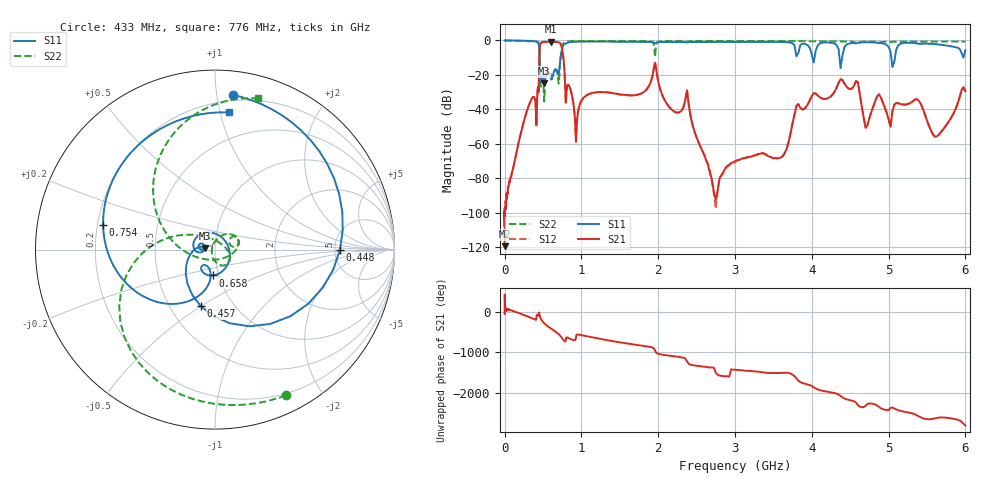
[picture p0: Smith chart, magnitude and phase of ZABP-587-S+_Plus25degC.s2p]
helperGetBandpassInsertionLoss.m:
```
function insertionLoss_dB = helperGetBandpassInsertionLoss(frequencyHz, s2pPath)
%helperGetBandpassInsertionLoss Interpolate insertion loss from the Mini-Circuits S2P file.

arguments
    frequencyHz (1, 1) double {mustBePositive}
    s2pPath (1, 1) string = fullfile("RFBudget", "ZABP-587-S+_Plus25degC.s2p")
end

if ~isfile(s2pPath)
    projectRoot = fileparts(mfilename("fullpath"));
    s2pPath = fullfile(projectRoot, s2pPath);
end

networkData = sparameters(s2pPath);
s21 = squeeze(networkData.Parameters(2, 1, :));
s21Interpolated = interp1(networkData.Frequencies, s21, frequencyHz, "linear", "extrap");
insertionLoss_dB = -20 * log10(abs(s21Interpolated));
end
```
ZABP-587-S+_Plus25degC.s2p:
! Mini-Circuits
! S2P DATA File Format
! Type: BAND PASS FILTER
! Model: ZABP-587-S+
! All S Parameters are in MAG PHASE format
! TEST CONDITIONS: INPUT POWER = 0 dBm @ Temperature = +25deg C
# MHz S DB R 50
!FREQ  MAG(S11)PHS(S11) MAG(S21)PHS(S21)MAG(S12)PHS(S12)MAG(S22)PHS(S22)
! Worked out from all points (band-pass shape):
!   1001 points, 500 kHz to 6 GHz, reference 50 ohm
!   highest |S21| = -0.73 dB at 606 MHz (marker M1); lowest = -119.3 dB at 4 MHz (marker M2)
!   |S21| within 3 dB of the highest: 458.8 MHz to 743.9 MHz (285.1 MHz wide, 47.4 % of centre)
!   lowest |S11| = -24.8 dB at 514 MHz (marker M3), VSWR 1.12, Z = 44.6 + j0.766 ohm
!   |S11| at or under -10 dB: 457.2 MHz to 728.7 MHz (271.5 MHz wide, 45.8 % of centre); 4.01 GHz to 4.035 GHz (25.53 MHz wide, 0.635 % of centre); 5.035 GHz to 5.083 GHz (47.92 MHz wide, 0.947 % of centre)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
!   |S22| runs from -35.4 to 0.0 dB; largest |S21 - S12| = 0.00048
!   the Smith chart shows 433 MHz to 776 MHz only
!   S11 on the Smith chart (normalised r, x): 433 MHz: 0.16, +1.11; 448 MHz: 5.58, -0.01; 457 MHz: 0.71, -0.50; 658 MHz: 0.94, -0.28; 754 MHz: 0.22, +0.10; 776 MHz: 0.28, +1.06
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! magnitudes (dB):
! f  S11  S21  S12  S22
! 500 kHz  0.0  -103.5  -99.9  0.0
! 4 MHz  0.0  -119.3  -105.0  0.0
! 55 MHz  0.0  -83.8  -83.0  0.0
! 433 MHz  -1.2  -27.4  -27.4  -0.9
! 448 MHz  -3.1  -19.1  -19.1  -2.1
! 457 MHz  -9.8  -4.8  -4.8  -7.8
! 514 MHz  -24.8  -0.8  -0.8  -33.7
! 606 MHz  -22.5  -0.7  -0.7  -20.4
! 658 MHz  -16.8  -0.9  -0.9  -17.2
! 754 MHz  -3.9  -6.0  -6.0  -3.3
! 776 MHz  -2.3  -15.3  -15.3  -1.2
! 6 GHz  -5.7  -29.5  -29.5  -0.6
